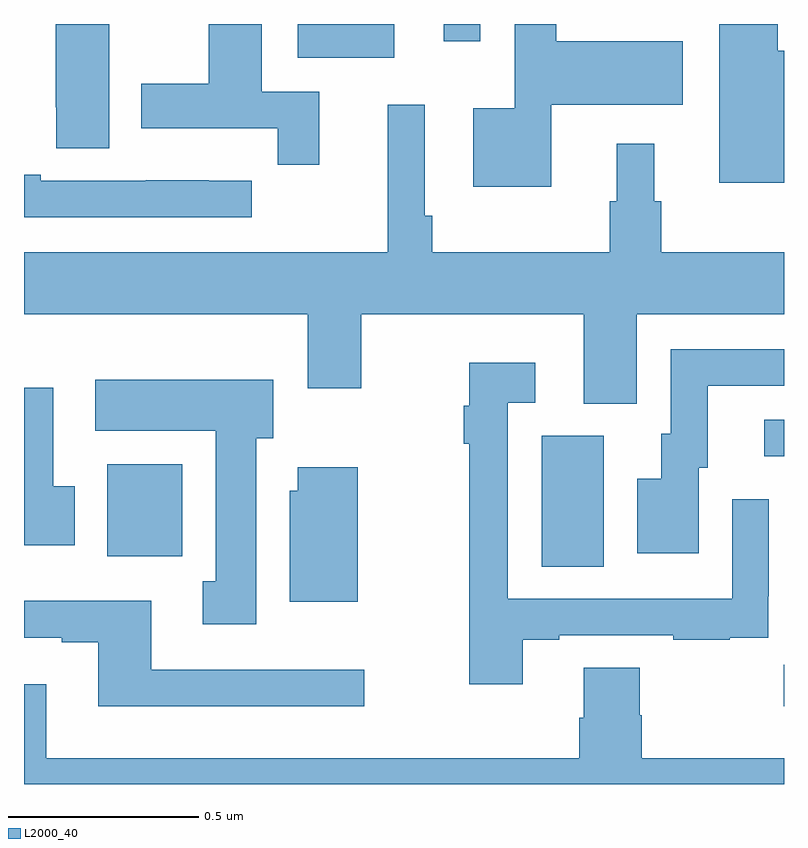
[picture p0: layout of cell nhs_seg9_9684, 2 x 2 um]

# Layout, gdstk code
import gdstk
lib = gdstk.Library(unit=1e-6, precision=1e-09)
def R(c, l, rs):  # rectangles x0, y0, x1, y1
    for r in rs: c.add(gdstk.rectangle(r[:2], r[2:], *l))
def P(c, l, *ps):  # polygons
    for p in ps: c.add(gdstk.Polygon(p, *l))
L2000_40 = (2000, 40)

nhs_seg9_9684 = lib.new_cell('nhs_seg9_9684')
R(nhs_seg9_9684, L2000_40, [(234.999,1212.704,235,1212.814), (234.362,1213.072,234.526,1213.416), (233.219,1213.1,233.416,1213.342), (234.948,1213.362,235,1213.458), (233.72,1214.411,233.974,1214.5), (234.104,1214.454,234.201,1214.5)])
P(nhs_seg9_9684, L2000_40, [(234.388,1214.288),(234.733,1214.288),(234.733,1214.454),(234.4,1214.454),(234.4,1214.5),(234.291,1214.5),(234.291,1214.278),(234.182,1214.278),(234.182,1214.072),(234.388,1214.072)],
  [(235,1214.43),(234.983,1214.43),(234.983,1214.5),(234.83,1214.5),(234.83,1214.082),(235,1214.082)],
  [(233.777,1214.322),(233.626,1214.322),(233.626,1214.5),(233.486,1214.5),(233.486,1214.343),(233.309,1214.343),(233.309,1214.226),(233.668,1214.226),(233.668,1214.13),(233.777,1214.13)],
  [(233.224,1214.5),(233.084,1214.5),(233.084,1214.281),(233.085,1214.281),(233.085,1214.173),(233.224,1214.173)],
  [(234.613,1213.736),(235,1213.736),(235,1213.9),(234.677,1213.9),(234.677,1214.034),(234.658,1214.034),(234.658,1214.185),(234.56,1214.185),(234.56,1214.034),(234.541,1214.034),(234.541,1213.9),(234.074,1213.9),(234.074,1213.996),(234.054,1213.996),(234.054,1214.287),(233.957,1214.287),(233.957,1213.9),(233,1213.9),(233,1213.736),(233.747,1213.736),(233.747,1213.542),(233.887,1213.542),(233.887,1213.736),(234.473,1213.736),(234.473,1213.501),(234.613,1213.501)],
  [(233.599,1214.088),(233.486,1214.088),(233.486,1214.089),(233.32,1214.089),(233.32,1214.088),(233.044,1214.088),(233.044,1214.103),(233,1214.103),(233,1213.992),(233.599,1213.992)],
  [(234.775,1213.332),(234.799,1213.332),(234.799,1213.548),(235,1213.548),(235,1213.644),(234.702,1213.644),(234.702,1213.422),(234.677,1213.422),(234.677,1213.303),(234.614,1213.303),(234.614,1213.107),(234.775,1213.107)],
  [(234.313,1212.879),(234.409,1212.879),(234.409,1212.891),(234.709,1212.891),(234.709,1212.879),(234.857,1212.879),(234.857,1212.885),(234.959,1212.885),(234.959,1212.994),(234.96,1212.994),(234.96,1213.249),(234.864,1213.249),(234.864,1212.987),(234.273,1212.987),(234.273,1213.503),(234.346,1213.503),(234.346,1213.609),(234.172,1213.609),(234.172,1213.496),(234.157,1213.496),(234.157,1213.396),(234.172,1213.396),(234.172,1212.762),(234.313,1212.762)],
  [(233.611,1213.41),(233.656,1213.41),(233.656,1213.564),(233.187,1213.564),(233.187,1213.43),(233.504,1213.43),(233.504,1213.034),(233.471,1213.034),(233.471,1212.921),(233.611,1212.921)],
  [(233.134,1213.284),(233.077,1213.284),(233.077,1213.543),(233,1213.543),(233,1213.128),(233.134,1213.128)],
  [(233.878,1213.333),(233.72,1213.333),(233.72,1213.272),(233.699,1213.272),(233.699,1212.98),(233.878,1212.98)],
  [(233.896,1212.801),(233.335,1212.801),(233.335,1212.982),(233,1212.982),(233,1212.885),(233.099,1212.885),(233.099,1212.873),(233.195,1212.873),(233.195,1212.704),(233.896,1212.704)],
  [(234.473,1212.806),(234.473,1212.674),(234.461,1212.674),(234.461,1212.568),(233.059,1212.568),(233.059,1212.763),(233,1212.763),(233,1212.5),(235,1212.5),(235,1212.568),(234.626,1212.568),(234.626,1212.681),(234.621,1212.681),(234.621,1212.806)])

lib.write_gds('nhs_seg9_9684.gds')
